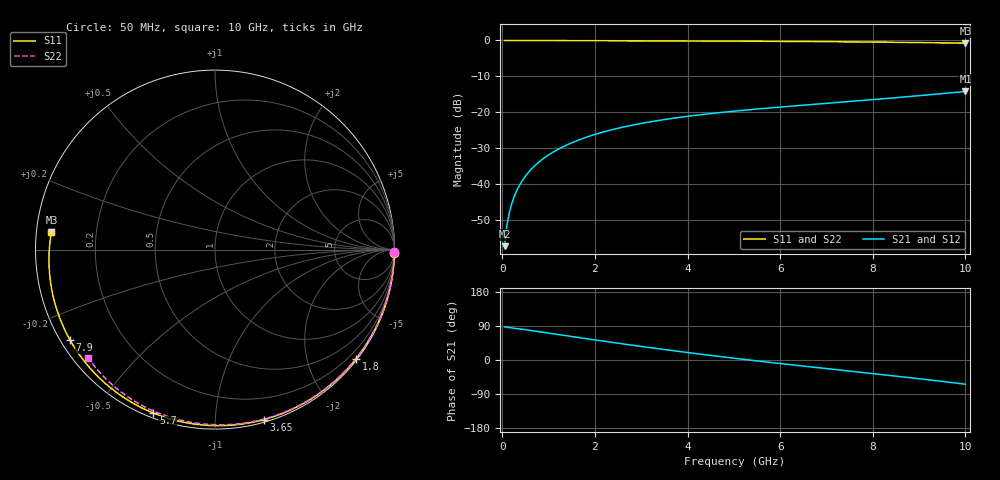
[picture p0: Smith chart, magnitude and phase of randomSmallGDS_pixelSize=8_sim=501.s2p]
! freq	dB(S11)	phase(S11)	dB(S12)	phase(S12)
!  dB(S21)	phase(S21)	dB(S22)	phase(S22)
!S-par simulation data
#  GHz  S  DB  R 50
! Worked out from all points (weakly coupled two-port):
!   200 points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, 50 MHz to 10 GHz, reference 50 ohm
!   highest |S21| = -14.24 dB at 10 GHz (marker M1); lowest = -57.4 dB at 50 MHz (marker M2)
!   lowest |S11| = -0.8 dB at 10 GHz (marker M3), VSWR 23.02, Z = 2.18 + j2.69 ohm
!   |S11| at or under -10 dB: nowhere
!   |S22| runs from -0.6 to 0.0 dB; largest |S21 - S12| = 0
!   S11 on the Smith chart (normalised r, x): 50 MHz: open; 1.8 GHz: 0.03, -2.92; 3.65 GHz: 0.02, -1.33; 5.7 GHz: 0.02, -0.69; 7.9 GHz: 0.03, -0.29; 10 GHz: 0.04, +0.05
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0.05  -0.00 -1.1  -57.43 87.6  -57.43 87.6  -0.00 -0.8
0.1  -0.00 -2.1  -51.58 86.3  -51.58 86.3  -0.00 -1.6
0.15  -0.00 -3.2  -48.17 85.5  -48.17 85.5  -0.00 -2.5
0.2  -0.00 -4.3  -45.72 84.8  -45.72 84.8  -0.00 -3.3
0.35  -0.01 -7.5  -40.94 82.5  -40.94 82.5  -0.00 -5.7
0.5  -0.01 -10.7  -37.87 79.9  -37.87 79.9  -0.01 -8.2
0.7  -0.02 -14.9  -34.98 76.4  -34.98 76.4  -0.01 -11.4
1  -0.03 -21.2  -31.95 70.9  -31.95 70.9  -0.02 -16.2
1.35  -0.04 -28.5  -29.43 64.6  -29.43 64.6  -0.03 -21.8
1.75  -0.05 -36.7  -27.30 57.4  -27.30 57.4  -0.04 -28.2
1.8  -0.06 -37.8  -27.08 56.5  -27.08 56.5  -0.04 -29.0
2.6  -0.08 -53.8  -24.21 42.5  -24.21 42.5  -0.07 -41.4
3.4  -0.12 -69.3  -22.27 29.2  -22.27 29.2  -0.10 -53.4
3.65  -0.13 -74.0  -21.79 25.2  -21.79 25.2  -0.10 -57.1
4.35  -0.16 -86.9  -20.63 14.3  -20.63 14.3  -0.13 -67.2
5.05  -0.19 -99.4  -19.69 4.0  -19.69 4.0  -0.16 -77.0
5.7  -0.23 -110.7  -18.93 -5.2  -18.93 -5.2  -0.19 -85.8
6.7  -0.31 -127.7  -17.87 -18.7  -17.87 -18.7  -0.26 -98.9
7.9  -0.43 -148.0  -16.63 -34.5  -16.63 -34.5  -0.36 -114.0
8.35  -0.49 -155.8  -16.14 -40.5  -16.14 -40.5  -0.40 -119.6
9.2  -0.61 -171.0  -15.19 -52.2  -15.19 -52.2  -0.51 -129.9
10  -0.76 173.8  -14.24 -63.9  -14.24 -63.9  -0.64 -139.5
